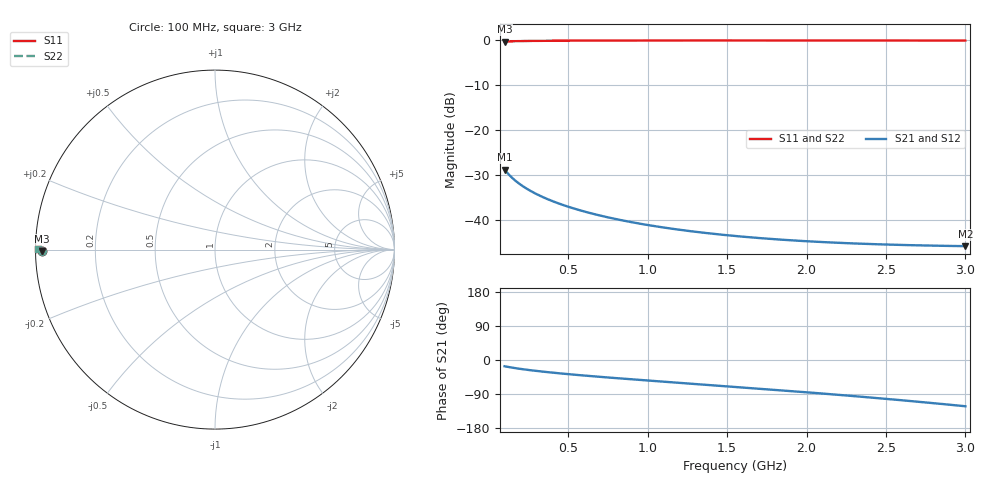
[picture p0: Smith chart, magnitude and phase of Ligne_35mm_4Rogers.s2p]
# HZ S RI R 50
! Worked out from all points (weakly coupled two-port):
!   1001 points, 100 MHz to 3 GHz, reference 50 ohm
!   highest |S21| = -28.72 dB at 100 MHz (marker M1); lowest = -45.7 dB at 3 GHz (marker M2)
!   lowest |S11| = -0.3 dB at 100 MHz (marker M3), VSWR 53.60, Z = 0.933 - j0.259 ohm
!   |S11| at or under -10 dB: nowhere
!   |S22| runs from -0.3 to -0.1 dB; largest |S21 - S12| = 1e-15
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1e8  -0.9633 -0.00997  0.0351 -0.0104  0.0351 -0.0104  -0.9633 -0.00997
1.116e8  -0.9654 -0.00987  0.033 -0.0104  0.033 -0.0104  -0.9654 -0.00987
1.319e8  -0.9684 -0.00969  0.0298 -0.0103  0.0298 -0.0103  -0.9684 -0.00969
1.493e8  -0.9705 -0.00953  0.0277 -0.0102  0.0277 -0.0102  -0.9705 -0.00953
1.841e8  -0.9737 -0.0092  0.0242 -0.01  0.0242 -0.01  -0.9737 -0.0092
2.305e8  -0.9768 -0.00876  0.0208 -0.00981  0.0208 -0.00981  -0.9768 -0.00876
2.856e8  -0.9795 -0.00824  0.0178 -0.00954  0.0178 -0.00954  -0.9795 -0.00824
3.494e8  -0.9818 -0.00766  0.0153 -0.00924  0.0153 -0.00924  -0.9818 -0.00766
4.19e8  -0.9836 -0.00706  0.0132 -0.00894  0.0132 -0.00894  -0.9836 -0.00706
4.973e8  -0.9851 -0.00641  0.0114 -0.00862  0.0114 -0.00862  -0.9851 -0.00641
5.843e8  -0.9864 -0.00573  0.00975 -0.00831  0.00975 -0.00831  -0.9864 -0.00573
6.916e8  -0.9876 -0.00495  0.0082 -0.00797  0.0082 -0.00797  -0.9876 -0.00495
8.076e8  -0.9885 -0.00416  0.00689 -0.00765  0.00689 -0.00765  -0.9885 -0.00416
9.323e8  -0.9892 -0.00337  0.00575 -0.00736  0.00575 -0.00736  -0.9892 -0.00337
1.0686e9  -0.9898 -0.00256  0.00474 -0.00708  0.00474 -0.00708  -0.9898 -0.00256
1.2977e9  -0.9903 -0.00131  0.00339 -0.00669  0.00339 -0.00669  -0.9903 -0.00131
1.55e9  -0.9906 -7.57e-05  0.00221 -0.00636  0.00221 -0.00636  -0.9906 -7.57e-05
1.7849e9  -0.9905 0.000962  0.00127 -0.00609  0.00127 -0.00609  -0.9905 0.000962
2.0343e9  -0.9903 0.00195  0.000378 -0.00583  0.000378 -0.00583  -0.9903 0.00195
2.2663e9  -0.9899 0.00277  -0.000406 -0.00557  -0.000406 -0.00557  -0.9899 0.00277
2.5186e9  -0.9893 0.00353  -0.00123 -0.00525  -0.00123 -0.00525  -0.9893 0.00353
3e9  -0.9878 0.00455  -0.00275 -0.0044  -0.00275 -0.0044  -0.9878 0.00455
